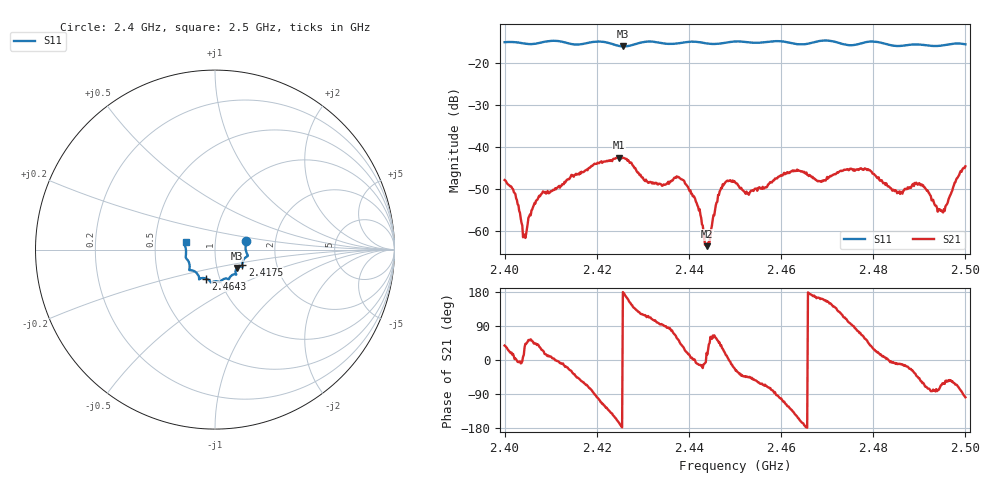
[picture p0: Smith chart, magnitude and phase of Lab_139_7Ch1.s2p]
# Hz S RI R 50
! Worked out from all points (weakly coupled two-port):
!   601 points, 2.4 GHz to 2.5 GHz, reference 50 ohm
!   highest |S21| = -42.50 dB at 2.4248 GHz (marker M1); lowest = -63.7 dB at 2.4438 GHz (marker M2)
!   lowest |S11| = -15.9 dB at 2.4257 GHz (marker M3), VSWR 1.38, Z = 62.5 - j13.1 ohm
!   |S11| at or under -10 dB: start of sweep to end of sweep
!   S12 and S22 are empty: the file has one direction only
!   S11 on the Smith chart (normalised r, x): 2.4 GHz: 1.41, +0.14; 2.4175 GHz: 1.34, -0.23; 2.4643 GHz: 0.86, -0.29; 2.5 GHz: 0.72, +0.06
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2.4e9  0.1728 0.0484  0.00318 0.0025  0 0  0 0
2.402167e9  0.1753 0.0393  0.00282 0.000115  0 0  0 0
2.404333e9  0.1714 0.0216  0.000755 0.000497  0 0  0 0
2.407833e9  0.1763 -0.0186  0.00231 0.00137  0 0  0 0
2.416667e9  0.1529 -0.0739  0.00286 -0.0042  0 0  0 0
2.4175e9  0.1519 -0.0832  0.00234 -0.0047  0 0  0 0
2.424833e9  0.1293 -0.0972  -0.00727 -0.00184  0 0  0 0
2.425667e9  0.1227 -0.102  -0.00748 8.18e-05  0 0  0 0
2.433333e9  0.1133 -0.1374  -0.000493 0.00355  0 0  0 0
2.439e9  0.0803 -0.1595  0.00343 0.00188  0 0  0 0
2.441833e9  0.0749 -0.1646  0.00198 -0.000361  0 0  0 0
2.443833e9  0.0646 -0.1611  0.00062 0.00021  0 0  0 0
2.446833e9  0.0419 -0.168  0.00242 0.00189  0 0  0 0
2.45e9  0.0287 -0.1806  0.0035 -0.00155  0 0  0 0
2.452833e9  0.0182 -0.1782  0.00199 -0.00196  0 0  0 0
2.464333e9  -0.05 -0.1612  -0.00487 -0.0015  0 0  0 0
2.466667e9  -0.076 -0.1594  -0.00432 0.000625  0 0  0 0
2.478667e9  -0.1394 -0.1152  0.00333 0.00413  0 0  0 0
2.483333e9  -0.1411 -0.0902  0.0034 -8.98e-06  0 0  0 0
2.490333e9  -0.1632 -0.0384  0.00196 -0.00291  0 0  0 0
2.495e9  -0.1638 0.0095  0.000794 -0.00149  0 0  0 0
2.5e9  -0.1638 0.0431  -0.000855 -0.00583  0 0  0 0
